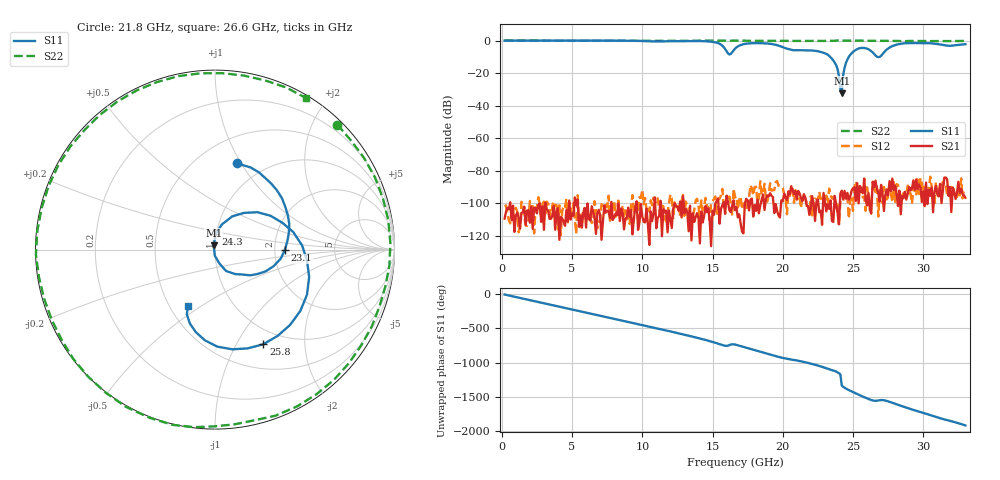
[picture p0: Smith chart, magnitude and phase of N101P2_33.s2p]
# GHZ S RI R 50
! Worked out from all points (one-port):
!   329 points, 200 MHz to 33 GHz, reference 50 ohm
!   lowest |S11| = -32.4 dB at 24.2 GHz (marker M1), VSWR 1.05, Z = 49.2 + j2.25 ohm
!   |S11| at or under -10 dB: 23.37 GHz to 24.7 GHz (1.33 GHz wide, 5.53 % of centre); 26.73 GHz to 26.9 GHz (170.2 MHz wide, 0.635 % of centre)
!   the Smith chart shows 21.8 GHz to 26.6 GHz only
!   S11 on the Smith chart (normalised r, x): 21.8 GHz: 0.75, +0.96; 23.1 GHz: 2.27, -0.02; 24.3 GHz: 0.99, +0.17; 25.8 GHz: 0.80, -1.30; 26.6 GHz: 0.62, -0.44
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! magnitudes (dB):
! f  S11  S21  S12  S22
! 200 MHz  0.0  -109.3  -101.8  0.0
! 5.7 GHz  0.0  -114.9  -104.7  0.0
! 11.2 GHz  -0.5  -107.9  -103.6  -0.2
! 15.2 GHz  -1.1  -100.0  -95.8  -0.1
! 16.2 GHz  -8.5  -104.1  -95.8  -0.1
! 16.6 GHz  -5.0  -104.2  -96.4  -0.1
! 18.4 GHz  -1.6  -101.2  -86.4  -0.2
! 21.8 GHz  -6.0  -101.5  -99.1  -0.2
! 22.1 GHz  -6.1  -95.6  -107.3  -0.2
! 23.1 GHz  -8.2  -104.9  -95.2  -0.2
! 23.8 GHz  -15.0  -100.7  -102.0  0.0
! 24 GHz  -21.7  -112.9  -113.4  0.0
! 24.2 GHz  -32.4  -92.2  -97.9  0.0
! 24.3 GHz  -21.3  -97.4  -98.7  0.0
! 24.5 GHz  -13.6  -97.1  -94.9  -0.1
! 24.8 GHz  -8.8  -95.8  -98.8  -0.1
! 25.8 GHz  -4.6  -84.7  -96.0  -0.1
! 26.6 GHz  -9.1  -86.0  -93.1  -0.1
! 26.9 GHz  -10.0  -98.9  -91.8  -0.1
! 27.6 GHz  -4.3  -86.3  -93.8  -0.2
! 28.7 GHz  -1.7  -92.9  -95.6  -0.3
! 33 GHz  -2.2  -96.5  -91.4  -0.2
